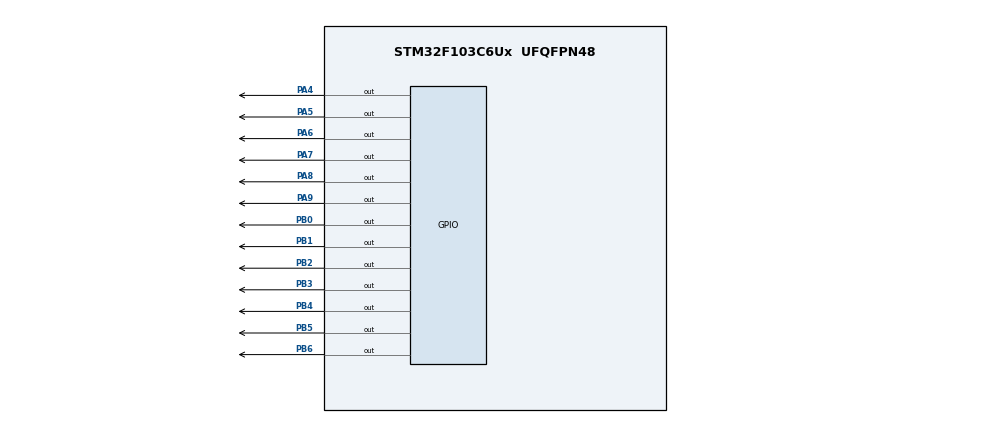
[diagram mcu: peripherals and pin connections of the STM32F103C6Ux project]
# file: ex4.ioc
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Mcu.Family=STM32F1
Mcu.Name=STM32F103C6Ux
Mcu.Package=UFQFPN48
NVIC.PriorityGroup=NVIC_PRIORITYGROUP_4
NVIC.TIM2_IRQn=true\:0\:0\:false\:false\:true\:true\:true\:true
PA4.Signal=GPIO_Output
PA5.Signal=GPIO_Output
PA6.Signal=GPIO_Output
PA7.Signal=GPIO_Output
PA8.Signal=GPIO_Output
PA9.Signal=GPIO_Output
PB0.Signal=GPIO_Output
PB1.Signal=GPIO_Output
PB2.Signal=GPIO_Output
PB3.Signal=GPIO_Output
PB4.Signal=GPIO_Output
PB5.Signal=GPIO_Output
PB6.Signal=GPIO_Output
ProjectManager.HeapSize=0x200
ProjectManager.StackSize=0x400
ProjectManager.TargetToolchain=STM32CubeIDE
RCC.APB1Freq_Value=8000000
RCC.APB2Freq_Value=8000000
TIM2.Period=9
TIM2.Prescaler=7999
VP_TIM2_VS_ClockSourceINT.Mode=Internal
board=custom

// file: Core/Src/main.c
/* USER CODE BEGIN Header */
/**
  ******************************************************************************
  * @file           : main.c
  * @brief          : Main program body
  ******************************************************************************
  * @attention
  *
  * Copyright (c) 2022 STMicroelectronics.
  * All rights reserved.
  *
  * This software is licensed under terms that can be found in the LICENSE file
  * in the root directory of this software component.
  * If no LICENSE file comes with this software, it is provided AS-IS.
  *
  ******************************************************************************
  */
/* USER CODE END Header */
#include "main.h"

TIM_HandleTypeDef htim2;

void SystemClock_Config(void);
static void MX_GPIO_Init(void);
static void MX_TIM2_Init(void);

/* USER CODE BEGIN 0 */
void display7SEG(int num) {
	switch(num) {
	case 0:
		HAL_GPIO_WritePin(GPIOB, GPIO_PIN_0, RESET);
		HAL_GPIO_WritePin(GPIOB, GPIO_PIN_1, RESET);
		HAL_GPIO_WritePin(GPIOB, GPIO_PIN_2, RESET);
		HAL_GPIO_WritePin(GPIOB, GPIO_PIN_3, RESET);
		HAL_GPIO_WritePin(GPIOB, GPIO_PIN_4, RESET);
		HAL_GPIO_WritePin(GPIOB, GPIO_PIN_5, RESET);
		HAL_GPIO_WritePin(GPIOB, GPIO_PIN_6, SET);
		break;
	case 1:
		HAL_GPIO_WritePin(GPIOB, GPIO_PIN_0, SET);
		HAL_GPIO_WritePin(GPIOB, GPIO_PIN_1, RESET);
		HAL_GPIO_WritePin(GPIOB, GPIO_PIN_2, RESET);
		HAL_GPIO_WritePin(GPIOB, GPIO_PIN_3, SET);
		HAL_GPIO_WritePin(GPIOB, GPIO_PIN_4, SET);
		HAL_GPIO_WritePin(GPIOB, GPIO_PIN_5, SET);
		HAL_GPIO_WritePin(GPIOB, GPIO_PIN_6, SET);
		break;
	case 2:
		HAL_GPIO_WritePin(GPIOB, GPIO_PIN_0, RESET);
		HAL_GPIO_WritePin(GPIOB, GPIO_PIN_1, RESET);
		HAL_GPIO_WritePin(GPIOB, GPIO_PIN_2, SET);
		HAL_GPIO_WritePin(GPIOB, GPIO_PIN_3, RESET);
		HAL_GPIO_WritePin(GPIOB, GPIO_PIN_4, RESET);
		HAL_GPIO_WritePin(GPIOB, GPIO_PIN_5, SET);
		HAL_GPIO_WritePin(GPIOB, GPIO_PIN_6, RESET);
		break;
	case 3:
		HAL_GPIO_WritePin(GPIOB, GPIO_PIN_0, RESET);
		HAL_GPIO_WritePin(GPIOB, GPIO_PIN_1, RESET);
		HAL_GPIO_WritePin(GPIOB, GPIO_PIN_2, RESET);
		HAL_GPIO_WritePin(GPIOB, GPIO_PIN_3, RESET);
		HAL_GPIO_WritePin(GPIOB, GPIO_PIN_4, SET);
		HAL_GPIO_WritePin(GPIOB, GPIO_PIN_5, SET);
		HAL_GPIO_WritePin(GPIOB, GPIO_PIN_6, RESET);
		break;
	case 4:
		HAL_GPIO_WritePin(GPIOB, GPIO_PIN_0, SET);
		HAL_GPIO_WritePin(GPIOB, GPIO_PIN_1, RESET);
		HAL_GPIO_WritePin(GPIOB, GPIO_PIN_2, RESET);
		HAL_GPIO_WritePin(GPIOB, GPIO_PIN_3, SET);
		HAL_GPIO_WritePin(GPIOB, GPIO_PIN_4, SET);
		HAL_GPIO_WritePin(GPIOB, GPIO_PIN_5, RESET);
		HAL_GPIO_WritePin(GPIOB, GPIO_PIN_6, RESET);
		break;
	case 5:
		HAL_GPIO_WritePin(GPIOB, GPIO_PIN_0, RESET);
		HAL_GPIO_WritePin(GPIOB, GPIO_PIN_1, SET);
		HAL_GPIO_WritePin(GPIOB, GPIO_PIN_2, RESET);
		HAL_GPIO_WritePin(GPIOB, GPIO_PIN_3, RESET);
		HAL_GPIO_WritePin(GPIOB, GPIO_PIN_4, SET);
		HAL_GPIO_WritePin(GPIOB, GPIO_PIN_5, RESET);
		HAL_GPIO_WritePin(GPIOB, GPIO_PIN_6, RESET);
		break;
	case 6:
		HAL_GPIO_WritePin(GPIOB, GPIO_PIN_0, RESET);
		HAL_GPIO_WritePin(GPIOB, GPIO_PIN_1, SET);
		HAL_GPIO_WritePin(GPIOB, GPIO_PIN_2, RESET);
		HAL_GPIO_WritePin(GPIOB, GPIO_PIN_3, RESET);
		HAL_GPIO_WritePin(GPIOB, GPIO_PIN_4, RESET);
		HAL_GPIO_WritePin(GPIOB, GPIO_PIN_5, RESET);
		HAL_GPIO_WritePin(GPIOB, GPIO_PIN_6, RESET);
		break;
	case 7:
		HAL_GPIO_WritePin(GPIOB, GPIO_PIN_0, RESET);
		HAL_GPIO_WritePin(GPIOB, GPIO_PIN_1, RESET);
		HAL_GPIO_WritePin(GPIOB, GPIO_PIN_2, RESET);
		HAL_GPIO_WritePin(GPIOB, GPIO_PIN_3, SET);
		HAL_GPIO_WritePin(GPIOB, GPIO_PIN_4, SET);
		HAL_GPIO_WritePin(GPIOB, GPIO_PIN_5, SET);
		HAL_GPIO_WritePin(GPIOB, GPIO_PIN_6, SET);
		break;
	case 8:
		HAL_GPIO_WritePin(GPIOB, GPIO_PIN_0, RESET);
		HAL_GPIO_WritePin(GPIOB, GPIO_PIN_1, RESET);
		HAL_GPIO_WritePin(GPIOB, GPIO_PIN_2, RESET);
		HAL_GPIO_WritePin(GPIOB, GPIO_PIN_3, RESET);
		HAL_GPIO_WritePin(GPIOB, GPIO_PIN_4, RESET);
		HAL_GPIO_WritePin(GPIOB, GPIO_PIN_5, RESET);
		HAL_GPIO_WritePin(GPIOB, GPIO_PIN_6, RESET);
		break;
	case 9:
		HAL_GPIO_WritePin(GPIOB, GPIO_PIN_0, RESET);
		HAL_GPIO_WritePin(GPIOB, GPIO_PIN_1, RESET);
		HAL_GPIO_WritePin(GPIOB, GPIO_PIN_2, RESET);
		HAL_GPIO_WritePin(GPIOB, GPIO_PIN_3, RESET);
		HAL_GPIO_WritePin(GPIOB, GPIO_PIN_4, SET);
		HAL_GPIO_WritePin(GPIOB, GPIO_PIN_5, RESET);
		HAL_GPIO_WritePin(GPIOB, GPIO_PIN_6, RESET);
		break;
	}
}
const int MAX_LED = 4;
int index_led = 0;
int led_buffer [4] = {1 , 2 , 3 , 4};
void update7SEG ( int index ) {
	switch ( index ) {
	case 0:
		// Display the first 7 SEG with led_buffer [0]
		display7SEG(led_buffer[0]);
		HAL_GPIO_WritePin(GPIOA, GPIO_PIN_6, 0);
		HAL_GPIO_WritePin(GPIOA, GPIO_PIN_7|GPIO_PIN_8|GPIO_PIN_9, 1);
		break ;
	case 1:
		// Display the second 7 SEG with led_buffer [1]
		display7SEG(led_buffer[1]);
		HAL_GPIO_WritePin(GPIOA, GPIO_PIN_7, 0);
		HAL_GPIO_WritePin(GPIOA, GPIO_PIN_6|GPIO_PIN_8|GPIO_PIN_9, 1);
		break ;
	case 2:
		// Display the third 7 SEG with led_buffer [2]
		display7SEG(led_buffer[2]);
		HAL_GPIO_WritePin(GPIOA, GPIO_PIN_8, 0);
		HAL_GPIO_WritePin(GPIOA, GPIO_PIN_6|GPIO_PIN_7|GPIO_PIN_9, 1);
		break ;
	case 3:
		// Display the forth 7 SEG with led_buffer [3]
		display7SEG(led_buffer[3]);
		HAL_GPIO_WritePin(GPIOA, GPIO_PIN_9, 0);
		HAL_GPIO_WritePin(GPIOA, GPIO_PIN_6|GPIO_PIN_7|GPIO_PIN_8, 1);
		break ;
	default :
		break ;
	}
 }
/* USER CODE END 0 */

int main(void)
{

  /* MCU Configuration--------------------------------------------------------*/

  /* Reset of all peripherals, Initializes the Flash interface and the Systick. */
  HAL_Init();

  /* Configure the system clock */
  SystemClock_Config();

  /* Initialize all configured peripherals */
  MX_GPIO_Init();
  MX_TIM2_Init();
  /* USER CODE BEGIN 2 */
  HAL_TIM_Base_Start_IT(&htim2);
  /* USER CODE END 2 */

  /* Infinite loop */
  while (1)
  {

  }
}

void SystemClock_Config(void)
{
  RCC_OscInitTypeDef RCC_OscInitStruct = {0};
  RCC_ClkInitTypeDef RCC_ClkInitStruct = {0};

  /** Initializes the RCC Oscillators according to the specified parameters
  * in the RCC_OscInitTypeDef structure.
  */
  RCC_OscInitStruct.OscillatorType = RCC_OSCILLATORTYPE_HSI;
  RCC_OscInitStruct.HSIState = RCC_HSI_ON;
  RCC_OscInitStruct.HSICalibrationValue = RCC_HSICALIBRATION_DEFAULT;
  RCC_OscInitStruct.PLL.PLLState = RCC_PLL_NONE;
  if (HAL_RCC_OscConfig(&RCC_OscInitStruct) != HAL_OK)
  {
    Error_Handler();
  }

  /** Initializes the CPU, AHB and APB buses clocks
  */
  RCC_ClkInitStruct.ClockType = RCC_CLOCKTYPE_HCLK|RCC_CLOCKTYPE_SYSCLK
                              |RCC_CLOCKTYPE_PCLK1|RCC_CLOCKTYPE_PCLK2;
  RCC_ClkInitStruct.SYSCLKSource = RCC_SYSCLKSOURCE_HSI;
  RCC_ClkInitStruct.AHBCLKDivider = RCC_SYSCLK_DIV1;
  RCC_ClkInitStruct.APB1CLKDivider = RCC_HCLK_DIV1;
  RCC_ClkInitStruct.APB2CLKDivider = RCC_HCLK_DIV1;

  if (HAL_RCC_ClockConfig(&RCC_ClkInitStruct, FLASH_LATENCY_0) != HAL_OK)
  {
    Error_Handler();
  }
}

static void MX_TIM2_Init(void)
{

  TIM_ClockConfigTypeDef sClockSourceConfig = {0};
  TIM_MasterConfigTypeDef sMasterConfig = {0};

  htim2.Instance = TIM2;
  htim2.Init.Prescaler = 7999;
  htim2.Init.CounterMode = TIM_COUNTERMODE_UP;
  htim2.Init.Period = 9;
  htim2.Init.ClockDivision = TIM_CLOCKDIVISION_DIV1;
  htim2.Init.AutoReloadPreload = TIM_AUTORELOAD_PRELOAD_DISABLE;
  if (HAL_TIM_Base_Init(&htim2) != HAL_OK)
  {
    Error_Handler();
  }
  sClockSourceConfig.ClockSource = TIM_CLOCKSOURCE_INTERNAL;
  if (HAL_TIM_ConfigClockSource(&htim2, &sClockSourceConfig) != HAL_OK)
  {
    Error_Handler();
  }
  sMasterConfig.MasterOutputTrigger = TIM_TRGO_RESET;
  sMasterConfig.MasterSlaveMode = TIM_MASTERSLAVEMODE_DISABLE;
  if (HAL_TIMEx_MasterConfigSynchronization(&htim2, &sMasterConfig) != HAL_OK)
  {
    Error_Handler();
  }

}

static void MX_GPIO_Init(void)
{
  GPIO_InitTypeDef GPIO_InitStruct = {0};

  /* GPIO Ports Clock Enable */
  __HAL_RCC_GPIOA_CLK_ENABLE();
  __HAL_RCC_GPIOB_CLK_ENABLE();

  /*Configure GPIO pin Output Level */
  HAL_GPIO_WritePin(GPIOA, GPIO_PIN_4|GPIO_PIN_5|GPIO_PIN_6|GPIO_PIN_7
                          |GPIO_PIN_8|GPIO_PIN_9, GPIO_PIN_RESET);

  /*Configure GPIO pin Output Level */
  HAL_GPIO_WritePin(GPIOB, GPIO_PIN_0|GPIO_PIN_1|GPIO_PIN_2|GPIO_PIN_3
                          |GPIO_PIN_4|GPIO_PIN_5|GPIO_PIN_6, GPIO_PIN_RESET);

  /*Configure GPIO pins : PA4 PA5 PA6 PA7
                           PA8 PA9 */
  GPIO_InitStruct.Pin = GPIO_PIN_4|GPIO_PIN_5|GPIO_PIN_6|GPIO_PIN_7
                          |GPIO_PIN_8|GPIO_PIN_9;
  GPIO_InitStruct.Mode = GPIO_MODE_OUTPUT_PP;
  GPIO_InitStruct.Pull = GPIO_NOPULL;
  GPIO_InitStruct.Speed = GPIO_SPEED_FREQ_LOW;
  HAL_GPIO_Init(GPIOA, &GPIO_InitStruct);

  /*Configure GPIO pins : PB0 PB1 PB2 PB3
                           PB4 PB5 PB6 */
  GPIO_InitStruct.Pin = GPIO_PIN_0|GPIO_PIN_1|GPIO_PIN_2|GPIO_PIN_3
                          |GPIO_PIN_4|GPIO_PIN_5|GPIO_PIN_6;
  GPIO_InitStruct.Mode = GPIO_MODE_OUTPUT_PP;
  GPIO_InitStruct.Pull = GPIO_NOPULL;
  GPIO_InitStruct.Speed = GPIO_SPEED_FREQ_LOW;
  HAL_GPIO_Init(GPIOB, &GPIO_InitStruct);

}

/* USER CODE BEGIN 4 */
int counter = 25; int dem = 0;
void HAL_TIM_PeriodElapsedCallback ( TIM_HandleTypeDef * htim )
{
	counter --;
	if (counter <=0) {
		counter = 25; dem++;
		if (index_led >= 4) index_led = 0;
		update7SEG(index_led++);
	}
	if (dem >= 4) {
		dem = 0;
		HAL_GPIO_TogglePin(GPIOA, GPIO_PIN_4);
		HAL_GPIO_TogglePin(GPIOA, GPIO_PIN_5);
	}
}
/* USER CODE END 4 */

void Error_Handler(void)
{
  __disable_irq();
  while (1)
  {
  }
}
